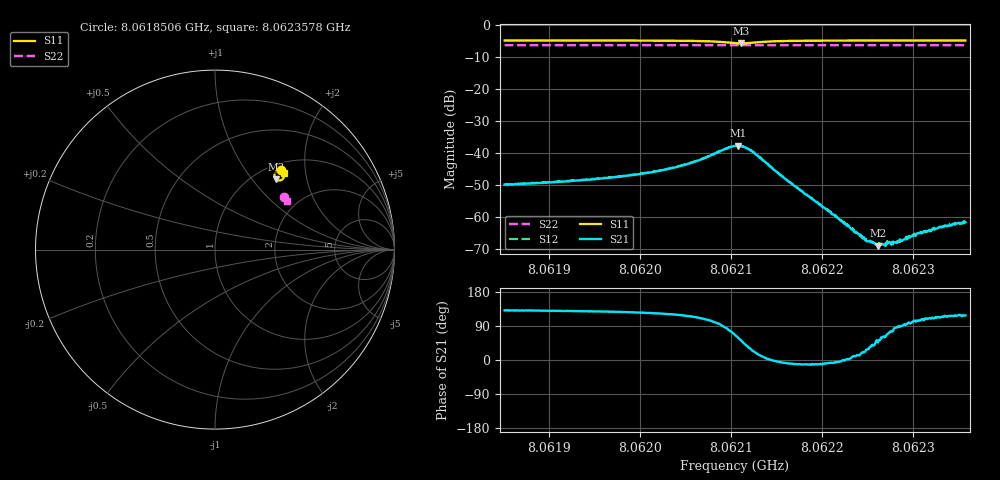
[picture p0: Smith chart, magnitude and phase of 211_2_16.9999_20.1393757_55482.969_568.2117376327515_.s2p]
#  HZ  S  RI  R  50.00
! Rohde & Schwarz Vector Network Analyzer
! Rohde-Schwarz,ZNB20-2Port,1311601062101988,3.16
! Created: UTC 3/20/2024, 11:01:28 PM
! freq[Hz]  re:S11  im:S11  re:S21  im:S21  re:S12  im:S12  re:S22  im:S22
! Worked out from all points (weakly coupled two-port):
!   401 points, 8.0618506 GHz to 8.0623578 GHz, reference 50 ohm
!   highest |S21| = -37.67 dB at 8.062108 GHz (marker M1); lowest = -68.9 dB at 8.0622615 GHz (marker M2)
!   lowest |S11| = -5.7 dB at 8.0621106 GHz (marker M3), VSWR 3.16, Z = 62.3 + j66.6 ohm
!   |S11| at or under -10 dB: nowhere
!   |S22| runs from -6.3 to -6.3 dB; largest |S21 - S12| = 0.00095
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8.06185064e9  0.3668 0.4439  -0.00211 0.00244  -0.00198 0.00256  0.387 0.2949
8.06193559e9  0.3733 0.4379  -0.00237 0.00296  -0.00222 0.00312  0.3898 0.2906
8.0619749e9  0.3767 0.4342  -0.00258 0.00341  -0.00239 0.00359  0.3913 0.2887
8.06202054e9  0.3814 0.4276  -0.00287 0.00445  -0.00264 0.00468  0.3926 0.2863
8.06205605e9  0.3849 0.4174  -0.003 0.00639  -0.00262 0.00666  0.3938 0.284
8.06208521e9  0.3808 0.3976  -0.00115 0.0101  -0.000487 0.0105  0.3943 0.2819
8.06210423e9  0.3544 0.3854  0.00527 0.0118  0.006 0.0116  0.3935 0.281
8.06210803e9  0.3465 0.3878  0.00694 0.0111  0.00772 0.0108  0.3934 0.2811
8.06211057e9  0.3415 0.3908  0.00784 0.0102  0.00862 0.0098  0.3932 0.2811
8.06212325e9  0.331 0.4146  0.00967 0.00447  0.01 0.004  0.3936 0.2817
8.06216002e9  0.3553 0.4395  0.0039 -0.000545  0.00391 -0.00078  0.3962 0.2808
8.06218918e9  0.366 0.4387  0.00189 -0.000349  0.0019 -0.00052  0.3976 0.2791
8.06224624e9  0.376 0.4344  0.000454 0.000168  0.000453 0.000142  0.3998 0.2762
8.06226146e9  0.3778 0.4334  0.000249 0.000261  0.00024 0.000274  0.4002 0.2753
8.06227414e9  0.3791 0.4326  0.000125 0.000392  0.000134 0.000341  0.4008 0.2746
8.06227667e9  0.3795 0.4323  9.93e-05 0.000367  0.00011 0.000392  0.4008 0.2745
8.06228175e9  0.3798 0.4321  3.03e-05 0.000407  7.03e-05 0.000395  0.4009 0.2743
8.06228682e9  0.3803 0.4317  -6.76e-07 0.000428  4.83e-05 0.000418  0.4011 0.2741
8.06230711e9  0.3822 0.4303  -0.000144 0.000549  -0.000127 0.000566  0.4018 0.273
8.06233754e9  0.3846 0.4285  -0.00029 0.00066  -0.000251 0.000685  0.4028 0.2714
8.06235275e9  0.3857 0.4277  -0.000379 0.00072  -0.000348 0.000725  0.4033 0.2706
8.06235782e9  0.3861 0.4275  -0.000385 0.000741  -0.000369 0.000785  0.4034 0.2705
